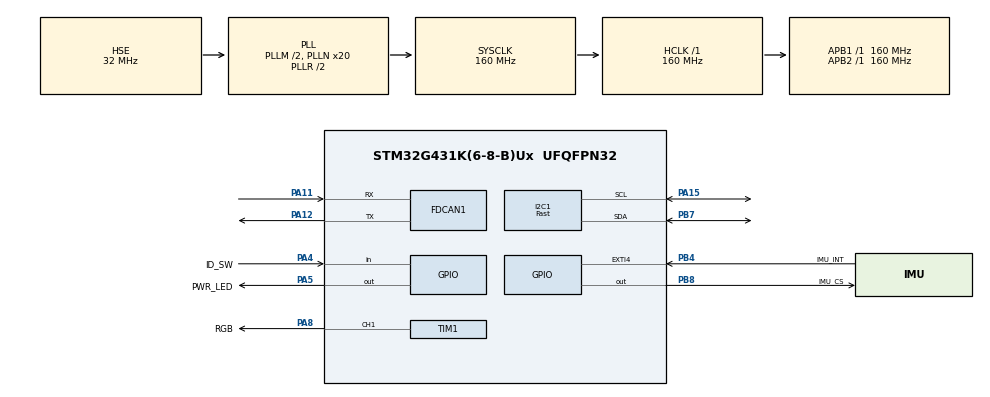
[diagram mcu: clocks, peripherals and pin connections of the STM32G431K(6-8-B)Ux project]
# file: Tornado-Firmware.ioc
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Dma.Request0=TIM1_CH1
Dma.TIM1_CH1.0.Direction=DMA_MEMORY_TO_PERIPH
Dma.TIM1_CH1.0.EventEnable=DISABLE
Dma.TIM1_CH1.0.Instance=DMA1_Channel1
Dma.TIM1_CH1.0.MemDataAlignment=DMA_MDATAALIGN_BYTE
Dma.TIM1_CH1.0.MemInc=DMA_MINC_ENABLE
Dma.TIM1_CH1.0.Mode=DMA_NORMAL
Dma.TIM1_CH1.0.PeriphDataAlignment=DMA_PDATAALIGN_HALFWORD
Dma.TIM1_CH1.0.PeriphInc=DMA_PINC_DISABLE
Dma.TIM1_CH1.0.Polarity=HAL_DMAMUX_REQ_GEN_RISING
Dma.TIM1_CH1.0.Priority=DMA_PRIORITY_LOW
Dma.TIM1_CH1.0.RequestNumber=1
Dma.TIM1_CH1.0.SignalID=NONE
Dma.TIM1_CH1.0.SyncEnable=DISABLE
Dma.TIM1_CH1.0.SyncPolarity=HAL_DMAMUX_SYNC_NO_EVENT
Dma.TIM1_CH1.0.SyncRequestNumber=1
Dma.TIM1_CH1.0.SyncSignalID=NONE
FDCAN1.AutoRetransmission=ENABLE
FDCAN1.CalculateBaudRateNominal=1000000
FDCAN1.CalculateTimeBitNominal=1000
FDCAN1.CalculateTimeQuantumNominal=200.0
FDCAN1.DataPrescaler=5
FDCAN1.DataTimeSeg1=1
FDCAN1.DataTimeSeg2=1
FDCAN1.FrameFormat=FDCAN_FRAME_FD_BRS
FDCAN1.NominalPrescaler=32
FDCAN1.TransmitPause=ENABLE
FREERTOS.BinarySemaphores01=i2cSyncSemaphore,Static,i2cSyncSemaphoreControlBlock
FREERTOS.MEMORY_ALLOCATION=1
FREERTOS.Mutexes01=i2cMutex,Static,i2cMutexControlBlock
FREERTOS.Queues01=rgbQueue,4,RGBState,0,Static,rgbQueueBuffer,rgbQueueControlBlock;EEPROMQueue,4,uint16_t,0,Static,EEPROMQueueBuffer,EEPROMQueueControlBlock
FREERTOS.Tasks01=defaultTask,0,128,StartDefaultTask,Default,NULL,Static,defaultTaskBuffer,defaultTaskControlBlock;updateRGBTask,-2,128,StartUpdateRGBTask,Default,NULL,Static,updateRGBTaskBuffer,updateRGBTaskControlBlock;buttonTask,0,128,StartButtonTask,Default,NULL,Static,buttonTaskBuffer,buttonTaskControlBlock;EEPROMWriteTask,-2,128,StartEEPROMWriteTask,Default,NULL,Static,EEPROMWriteTaskBuffer,EEPROMWriteTaskControlBlock;periodicTask,0,128,StartPeriodicTask,Default,NULL,Static,periodicTaskBuffer,periodicTaskControlBlock
FREERTOS.configUSE_NEWLIB_REENTRANT=1
I2C1.I2C_Speed_Mode=I2C_Fast
I2C1.Timing=0x00F07BFF
Mcu.Family=STM32G4
Mcu.Name=STM32G431K(6-8-B)Ux
Mcu.Package=UFQFPN32
NVIC.DMA1_Channel1_IRQn=true\:5\:0\:false\:false\:true\:true\:false\:true\:true
NVIC.EXTI4_IRQn=true\:5\:0\:false\:false\:true\:true\:true\:true\:true
NVIC.FDCAN1_IT0_IRQn=true\:5\:0\:false\:false\:true\:true\:true\:true\:true
NVIC.I2C1_ER_IRQn=true\:5\:0\:false\:false\:true\:true\:true\:true\:true
NVIC.I2C1_EV_IRQn=true\:5\:0\:false\:false\:true\:true\:true\:true\:true
NVIC.PriorityGroup=NVIC_PRIORITYGROUP_4
NVIC.TIM2_IRQn=true\:15\:0\:false\:false\:true\:false\:false\:true\:true
NVIC.TimeBase=TIM2_IRQn
NVIC.TimeBaseIP=TIM2
PA11.Mode=FDCAN_Activate
PA11.Signal=FDCAN1_RX
PA12.Mode=FDCAN_Activate
PA12.Signal=FDCAN1_TX
PA13.Mode=Serial_Wire
PA13.Signal=SYS_JTMS-SWDIO
PA14.Mode=Serial_Wire
PA14.Signal=SYS_JTCK-SWCLK
PA15.Mode=I2C
PA15.Signal=I2C1_SCL
PA4.GPIO_Label=ID_SW
PA4.GPIO_PuPd=GPIO_PULLUP
PA4.Signal=GPIO_Input
PA5.GPIO_Label=PWR_LED
PA5.Signal=GPIO_Output
PA8.GPIO_Label=RGB
PA8.Signal=S_TIM1_CH1
PB4.GPIO_Label=IMU_INT
PB4.Signal=GPXTI4
PB7.Mode=I2C
PB7.Signal=I2C1_SDA
PB8-BOOT0.GPIO_Label=IMU_CS
PB8-BOOT0.Signal=GPIO_Output
PF0-OSC_IN.Mode=HSE-External-Oscillator
PF0-OSC_IN.Signal=RCC_OSC_IN
PF1-OSC_OUT.Mode=HSE-External-Oscillator
PF1-OSC_OUT.Signal=RCC_OSC_OUT
ProjectManager.HeapSize=0x200
ProjectManager.StackSize=0x400
ProjectManager.TargetToolchain=STM32CubeIDE
RCC.ADC12Freq_Value=160000000
RCC.AHBFreq_Value=160000000
RCC.APB1Freq_Value=160000000
RCC.APB1TimFreq_Value=160000000
RCC.APB2Freq_Value=160000000
RCC.APB2TimFreq_Value=160000000
RCC.CortexFreq_Value=160000000
RCC.EXTERNAL_CLOCK_VALUE=12288000
RCC.HCLKFreq_Value=160000000
RCC.HSE_VALUE=32000000
RCC.HSI48_VALUE=48000000
RCC.HSI_VALUE=16000000
RCC.LSE_VALUE=32768
RCC.PLLM=RCC_PLLM_DIV2
RCC.PLLN=20
RCC.PLLSourceVirtual=RCC_PLLSOURCE_HSE
RCC.SYSCLKFreq_VALUE=160000000
RCC.SYSCLKSource=RCC_SYSCLKSOURCE_PLLCLK
RCC.USBFreq_Value=160000000
RCC.VCOOutputFreq_Value=320000000
SH.S_TIM1_CH1.0=TIM1_CH1,PWM Generation1 CH1
TIM1.Channel-PWM\ Generation1\ CH1=TIM_CHANNEL_1
TIM1.PeriodNoDither=39
TIM1.Prescaler=4
VP_FREERTOS_VS_CMSIS_V1.Mode=CMSIS_V1
VP_SYS_VS_DBSignals.Mode=DisableDeadBatterySignals
VP_SYS_VS_tim2.Mode=TIM2
VP_TIM1_VS_ClockSourceINT.Mode=Internal
board=custom

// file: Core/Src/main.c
/* USER CODE BEGIN Header */
/**
  ******************************************************************************
  * @file           : main.c
  * @brief          : Main program body
  ******************************************************************************
  * @attention
  *
  * Copyright (c) 2024 STMicroelectronics.
  * All rights reserved.
  *
  * This software is licensed under terms that can be found in the LICENSE file
  * in the root directory of this software component.
  * If no LICENSE file comes with this software, it is provided AS-IS.
  *
  ******************************************************************************
  */
/* USER CODE END Header */
#include "main.h"
#include "cmsis_os.h"

/* USER CODE BEGIN Includes */
#include "WS2812.h"
#include "EEPROM.h"
/* USER CODE END Includes */

/* USER CODE BEGIN PD */
#define IMU_ADDR (0b1101010) << 1

#define I2C_MAX_DELAY 10

#define RGB_CHANNEL TIM_CHANNEL_1

#define MODE_SETTING_ID 1
#define MODE_NOT_SETTING_ID 0
#define BUTTON_PRESS_LONG 300
#define BUTTON_PRESS_SHORT 4
/* USER CODE END PD */

FDCAN_HandleTypeDef hfdcan1;

I2C_HandleTypeDef hi2c1;

TIM_HandleTypeDef htim1;
DMA_HandleTypeDef hdma_tim1_ch1;

osThreadId defaultTaskHandle;
uint32_t defaultTaskBuffer[ 128 ];
osStaticThreadDef_t defaultTaskControlBlock;
osThreadId updateRGBTaskHandle;
uint32_t updateRGBTaskBuffer[ 128 ];
osStaticThreadDef_t updateRGBTaskControlBlock;
osThreadId buttonTaskHandle;
uint32_t buttonTaskBuffer[ 128 ];
osStaticThreadDef_t buttonTaskControlBlock;
osThreadId EEPROMWriteTaskHandle;
uint32_t EEPROMWriteTaskBuffer[ 128 ];
osStaticThreadDef_t EEPROMWriteTaskControlBlock;
osThreadId periodicTaskHandle;
uint32_t periodicTaskBuffer[ 128 ];
osStaticThreadDef_t periodicTaskControlBlock;
osMessageQId rgbQueueHandle;
uint8_t rgbQueueBuffer[ 4 * sizeof( RGBState ) ];
osStaticMessageQDef_t rgbQueueControlBlock;
osMessageQId EEPROMQueueHandle;
uint8_t EEPROMQueueBuffer[ 4 * sizeof( uint16_t ) ];
osStaticMessageQDef_t EEPROMQueueControlBlock;
osMutexId i2cMutexHandle;
osStaticMutexDef_t i2cMutexControlBlock;
osSemaphoreId i2cSyncSemaphoreHandle;
osStaticSemaphoreDef_t i2cSyncSemaphoreControlBlock;
/* USER CODE BEGIN PV */
uint8_t config[40];
/* USER CODE END PV */

void SystemClock_Config(void);
static void MX_GPIO_Init(void);
static void MX_DMA_Init(void);
static void MX_FDCAN1_Init(void);
static void MX_I2C1_Init(void);
static void MX_TIM1_Init(void);
void StartDefaultTask(void const * argument);
void StartUpdateRGBTask(void const * argument);
void StartButtonTask(void const * argument);
void StartEEPROMWriteTask(void const * argument);
void StartPeriodicTask(void const * argument);

/* USER CODE BEGIN PFP */
HAL_StatusTypeDef i2cBlockingRead(I2C_HandleTypeDef *hi2c, uint8_t addr, uint8_t reg, uint8_t *buf, uint16_t len);
HAL_StatusTypeDef i2cBlockingWrite(I2C_HandleTypeDef *hi2c, uint8_t addr, uint8_t reg, uint8_t *buf, uint16_t len);
int32_t imu_write(void *handle, uint8_t Reg, const uint8_t *Bufp, uint16_t len);
int32_t imu_read(void *handle, uint8_t Reg, uint8_t *Bufp, uint16_t len);
void platform_delay(uint32_t ms);
void idToRGB(RGBState* state, uint8_t id);
void incrementID(uint8_t* id);
HAL_StatusTypeDef loadEEPROM(uint8_t* data);
/* USER CODE END PFP */

/* USER CODE BEGIN 0 */
void HAL_TIM_PWM_PulseFinishedCallback(TIM_HandleTypeDef *htim){
  HAL_TIM_PWM_Stop_DMA(&htim1, RGB_CHANNEL);
}

void HAL_I2C_MasterTxCpltCallback(I2C_HandleTypeDef *hi2c){
  BaseType_t xHigherPriorityTaskWoken = pdFALSE;

  xSemaphoreGiveFromISR(i2cSyncSemaphoreHandle, &xHigherPriorityTaskWoken);

  portYIELD_FROM_ISR(xHigherPriorityTaskWoken);
}

void HAL_I2C_MasterRxCpltCallback(I2C_HandleTypeDef *hi2c){
  BaseType_t xHigherPriorityTaskWoken = pdFALSE;

  xSemaphoreGiveFromISR(i2cSyncSemaphoreHandle, &xHigherPriorityTaskWoken);

  portYIELD_FROM_ISR(xHigherPriorityTaskWoken);
}

void HAL_I2C_ErrorCallback(I2C_HandleTypeDef *hi2c){
  BaseType_t xHigherPriorityTaskWoken = pdFALSE;

  xSemaphoreGiveFromISR(i2cSyncSemaphoreHandle, &xHigherPriorityTaskWoken);

  portYIELD_FROM_ISR(xHigherPriorityTaskWoken);
}

void HAL_GPIO_EXTI_Callback(uint16_t GPIO_Pin){
  BaseType_t xHigherPriorityTaskWoken = pdFALSE;

  if(GPIO_Pin == IMU_INT_Pin){
    //handle IMU interrupt
  }

  portYIELD_FROM_ISR(xHigherPriorityTaskWoken);
}

void HAL_FDCAN_RxFifo0Callback(FDCAN_HandleTypeDef *hfdcan, uint32_t RxFifo0ITs){
  BaseType_t xHigherPriorityTaskWoken = pdFALSE;

  //notify receive task

  portYIELD_FROM_ISR(xHigherPriorityTaskWoken);
}
/* USER CODE END 0 */

int main(void)
{

  /* MCU Configuration--------------------------------------------------------*/

  /* Reset of all peripherals, Initializes the Flash interface and the Systick. */
  HAL_Init();

  /* Configure the system clock */
  SystemClock_Config();

  /* Initialize all configured peripherals */
  MX_GPIO_Init();
  MX_DMA_Init();
  MX_FDCAN1_Init();
  MX_I2C1_Init();
  MX_TIM1_Init();
  /* USER CODE BEGIN 2 */
  loadEEPROM(config);
  /* USER CODE END 2 */

  /* Create the mutex(es) */
  /* definition and creation of i2cMutex */
  osMutexStaticDef(i2cMutex, &i2cMutexControlBlock);
  i2cMutexHandle = osMutexCreate(osMutex(i2cMutex));

  /* Create the semaphores(s) */
  /* definition and creation of i2cSyncSemaphore */
  osSemaphoreStaticDef(i2cSyncSemaphore, &i2cSyncSemaphoreControlBlock);
  i2cSyncSemaphoreHandle = osSemaphoreCreate(osSemaphore(i2cSyncSemaphore), 1);

  /* Create the queue(s) */
  /* definition and creation of rgbQueue */
  osMessageQStaticDef(rgbQueue, 4, RGBState, rgbQueueBuffer, &rgbQueueControlBlock);
  rgbQueueHandle = osMessageCreate(osMessageQ(rgbQueue), NULL);

  /* definition and creation of EEPROMQueue */
  osMessageQStaticDef(EEPROMQueue, 4, uint16_t, EEPROMQueueBuffer, &EEPROMQueueControlBlock);
  EEPROMQueueHandle = osMessageCreate(osMessageQ(EEPROMQueue), NULL);

  /* Create the thread(s) */
  /* definition and creation of defaultTask */
  osThreadStaticDef(defaultTask, StartDefaultTask, osPriorityNormal, 0, 128, defaultTaskBuffer, &defaultTaskControlBlock);
  defaultTaskHandle = osThreadCreate(osThread(defaultTask), NULL);

  /* definition and creation of updateRGBTask */
  osThreadStaticDef(updateRGBTask, StartUpdateRGBTask, osPriorityLow, 0, 128, updateRGBTaskBuffer, &updateRGBTaskControlBlock);
  updateRGBTaskHandle = osThreadCreate(osThread(updateRGBTask), NULL);

  /* definition and creation of buttonTask */
  osThreadStaticDef(buttonTask, StartButtonTask, osPriorityNormal, 0, 128, buttonTaskBuffer, &buttonTaskControlBlock);
  buttonTaskHandle = osThreadCreate(osThread(buttonTask), NULL);

  /* definition and creation of EEPROMWriteTask */
  osThreadStaticDef(EEPROMWriteTask, StartEEPROMWriteTask, osPriorityLow, 0, 128, EEPROMWriteTaskBuffer, &EEPROMWriteTaskControlBlock);
  EEPROMWriteTaskHandle = osThreadCreate(osThread(EEPROMWriteTask), NULL);

  /* definition and creation of periodicTask */
  osThreadStaticDef(periodicTask, StartPeriodicTask, osPriorityNormal, 0, 128, periodicTaskBuffer, &periodicTaskControlBlock);
  periodicTaskHandle = osThreadCreate(osThread(periodicTask), NULL);

  /* Start scheduler */
  osKernelStart();

  /* We should never get here as control is now taken by the scheduler */
  /* Infinite loop */
  while (1)
  {

  }
}

void SystemClock_Config(void)
{
  RCC_OscInitTypeDef RCC_OscInitStruct = {0};
  RCC_ClkInitTypeDef RCC_ClkInitStruct = {0};

  /** Configure the main internal regulator output voltage
  */
  HAL_PWREx_ControlVoltageScaling(PWR_REGULATOR_VOLTAGE_SCALE1_BOOST);

  /** Initializes the RCC Oscillators according to the specified parameters
  * in the RCC_OscInitTypeDef structure.
  */
  RCC_OscInitStruct.OscillatorType = RCC_OSCILLATORTYPE_HSE;
  RCC_OscInitStruct.HSEState = RCC_HSE_ON;
  RCC_OscInitStruct.PLL.PLLState = RCC_PLL_ON;
  RCC_OscInitStruct.PLL.PLLSource = RCC_PLLSOURCE_HSE;
  RCC_OscInitStruct.PLL.PLLM = RCC_PLLM_DIV2;
  RCC_OscInitStruct.PLL.PLLN = 20;
  RCC_OscInitStruct.PLL.PLLP = RCC_PLLP_DIV2;
  RCC_OscInitStruct.PLL.PLLQ = RCC_PLLQ_DIV2;
  RCC_OscInitStruct.PLL.PLLR = RCC_PLLR_DIV2;
  if (HAL_RCC_OscConfig(&RCC_OscInitStruct) != HAL_OK)
  {
    Error_Handler();
  }

  /** Initializes the CPU, AHB and APB buses clocks
  */
  RCC_ClkInitStruct.ClockType = RCC_CLOCKTYPE_HCLK|RCC_CLOCKTYPE_SYSCLK
                              |RCC_CLOCKTYPE_PCLK1|RCC_CLOCKTYPE_PCLK2;
  RCC_ClkInitStruct.SYSCLKSource = RCC_SYSCLKSOURCE_PLLCLK;
  RCC_ClkInitStruct.AHBCLKDivider = RCC_SYSCLK_DIV1;
  RCC_ClkInitStruct.APB1CLKDivider = RCC_HCLK_DIV1;
  RCC_ClkInitStruct.APB2CLKDivider = RCC_HCLK_DIV1;

  if (HAL_RCC_ClockConfig(&RCC_ClkInitStruct, FLASH_LATENCY_4) != HAL_OK)
  {
    Error_Handler();
  }
}

static void MX_FDCAN1_Init(void)
{

  hfdcan1.Instance = FDCAN1;
  hfdcan1.Init.ClockDivider = FDCAN_CLOCK_DIV1;
  hfdcan1.Init.FrameFormat = FDCAN_FRAME_FD_BRS;
  hfdcan1.Init.Mode = FDCAN_MODE_NORMAL;
  hfdcan1.Init.AutoRetransmission = ENABLE;
  hfdcan1.Init.TransmitPause = ENABLE;
  hfdcan1.Init.ProtocolException = DISABLE;
  hfdcan1.Init.NominalPrescaler = 32;
  hfdcan1.Init.NominalSyncJumpWidth = 1;
  hfdcan1.Init.NominalTimeSeg1 = 2;
  hfdcan1.Init.NominalTimeSeg2 = 2;
  hfdcan1.Init.DataPrescaler = 5;
  hfdcan1.Init.DataSyncJumpWidth = 1;
  hfdcan1.Init.DataTimeSeg1 = 1;
  hfdcan1.Init.DataTimeSeg2 = 1;
  hfdcan1.Init.StdFiltersNbr = 0;
  hfdcan1.Init.ExtFiltersNbr = 0;
  hfdcan1.Init.TxFifoQueueMode = FDCAN_TX_FIFO_OPERATION;
  if (HAL_FDCAN_Init(&hfdcan1) != HAL_OK)
  {
    Error_Handler();
  }

}

static void MX_I2C1_Init(void)
{

  hi2c1.Instance = I2C1;
  hi2c1.Init.Timing = 0x00F07BFF;
  hi2c1.Init.OwnAddress1 = 0;
  hi2c1.Init.AddressingMode = I2C_ADDRESSINGMODE_7BIT;
  hi2c1.Init.DualAddressMode = I2C_DUALADDRESS_DISABLE;
  hi2c1.Init.OwnAddress2 = 0;
  hi2c1.Init.OwnAddress2Masks = I2C_OA2_NOMASK;
  hi2c1.Init.GeneralCallMode = I2C_GENERALCALL_DISABLE;
  hi2c1.Init.NoStretchMode = I2C_NOSTRETCH_DISABLE;
  if (HAL_I2C_Init(&hi2c1) != HAL_OK)
  {
    Error_Handler();
  }

  /** Configure Analogue filter
  */
  if (HAL_I2CEx_ConfigAnalogFilter(&hi2c1, I2C_ANALOGFILTER_ENABLE) != HAL_OK)
  {
    Error_Handler();
  }

  /** Configure Digital filter
  */
  if (HAL_I2CEx_ConfigDigitalFilter(&hi2c1, 0) != HAL_OK)
  {
    Error_Handler();
  }

}

static void MX_TIM1_Init(void)
{

  TIM_ClockConfigTypeDef sClockSourceConfig = {0};
  TIM_MasterConfigTypeDef sMasterConfig = {0};
  TIM_OC_InitTypeDef sConfigOC = {0};
  TIM_BreakDeadTimeConfigTypeDef sBreakDeadTimeConfig = {0};

  htim1.Instance = TIM1;
  htim1.Init.Prescaler = 4;
  htim1.Init.CounterMode = TIM_COUNTERMODE_UP;
  htim1.Init.Period = 39;
  htim1.Init.ClockDivision = TIM_CLOCKDIVISION_DIV1;
  htim1.Init.RepetitionCounter = 0;
  htim1.Init.AutoReloadPreload = TIM_AUTORELOAD_PRELOAD_DISABLE;
  if (HAL_TIM_Base_Init(&htim1) != HAL_OK)
  {
    Error_Handler();
  }
  sClockSourceConfig.ClockSource = TIM_CLOCKSOURCE_INTERNAL;
  if (HAL_TIM_ConfigClockSource(&htim1, &sClockSourceConfig) != HAL_OK)
  {
    Error_Handler();
  }
  if (HAL_TIM_PWM_Init(&htim1) != HAL_OK)
  {
    Error_Handler();
  }
  sMasterConfig.MasterOutputTrigger = TIM_TRGO_RESET;
  sMasterConfig.MasterOutputTrigger2 = TIM_TRGO2_RESET;
  sMasterConfig.MasterSlaveMode = TIM_MASTERSLAVEMODE_DISABLE;
  if (HAL_TIMEx_MasterConfigSynchronization(&htim1, &sMasterConfig) != HAL_OK)
  {
    Error_Handler();
  }
  sConfigOC.OCMode = TIM_OCMODE_PWM1;
  sConfigOC.Pulse = 0;
  sConfigOC.OCPolarity = TIM_OCPOLARITY_HIGH;
  sConfigOC.OCNPolarity = TIM_OCNPOLARITY_HIGH;
  sConfigOC.OCFastMode = TIM_OCFAST_DISABLE;
  sConfigOC.OCIdleState = TIM_OCIDLESTATE_RESET;
  sConfigOC.OCNIdleState = TIM_OCNIDLESTATE_RESET;
  if (HAL_TIM_PWM_ConfigChannel(&htim1, &sConfigOC, TIM_CHANNEL_1) != HAL_OK)
  {
    Error_Handler();
  }
  sBreakDeadTimeConfig.OffStateRunMode = TIM_OSSR_DISABLE;
  sBreakDeadTimeConfig.OffStateIDLEMode = TIM_OSSI_DISABLE;
  sBreakDeadTimeConfig.LockLevel = TIM_LOCKLEVEL_OFF;
  sBreakDeadTimeConfig.DeadTime = 0;
  sBreakDeadTimeConfig.BreakState = TIM_BREAK_DISABLE;
  sBreakDeadTimeConfig.BreakPolarity = TIM_BREAKPOLARITY_HIGH;
  sBreakDeadTimeConfig.BreakFilter = 0;
  sBreakDeadTimeConfig.BreakAFMode = TIM_BREAK_AFMODE_INPUT;
  sBreakDeadTimeConfig.Break2State = TIM_BREAK2_DISABLE;
  sBreakDeadTimeConfig.Break2Polarity = TIM_BREAK2POLARITY_HIGH;
  sBreakDeadTimeConfig.Break2Filter = 0;
  sBreakDeadTimeConfig.Break2AFMode = TIM_BREAK_AFMODE_INPUT;
  sBreakDeadTimeConfig.AutomaticOutput = TIM_AUTOMATICOUTPUT_DISABLE;
  if (HAL_TIMEx_ConfigBreakDeadTime(&htim1, &sBreakDeadTimeConfig) != HAL_OK)
  {
    Error_Handler();
  }
  HAL_TIM_MspPostInit(&htim1);

}

static void MX_DMA_Init(void)
{

  /* DMA controller clock enable */
  __HAL_RCC_DMAMUX1_CLK_ENABLE();
  __HAL_RCC_DMA1_CLK_ENABLE();

  /* DMA interrupt init */
  /* DMA1_Channel1_IRQn interrupt configuration */
  HAL_NVIC_SetPriority(DMA1_Channel1_IRQn, 5, 0);
  HAL_NVIC_EnableIRQ(DMA1_Channel1_IRQn);

}

static void MX_GPIO_Init(void)
{
  GPIO_InitTypeDef GPIO_InitStruct = {0};

  /* GPIO Ports Clock Enable */
  __HAL_RCC_GPIOF_CLK_ENABLE();
  __HAL_RCC_GPIOA_CLK_ENABLE();
  __HAL_RCC_GPIOB_CLK_ENABLE();

  /*Configure GPIO pin Output Level */
  HAL_GPIO_WritePin(PWR_LED_GPIO_Port, PWR_LED_Pin, GPIO_PIN_RESET);

  /*Configure GPIO pin Output Level */
  HAL_GPIO_WritePin(IMU_CS_GPIO_Port, IMU_CS_Pin, GPIO_PIN_RESET);

  /*Configure GPIO pin : ID_SW_Pin */
  GPIO_InitStruct.Pin = ID_SW_Pin;
  GPIO_InitStruct.Mode = GPIO_MODE_INPUT;
  GPIO_InitStruct.Pull = GPIO_PULLUP;
  HAL_GPIO_Init(ID_SW_GPIO_Port, &GPIO_InitStruct);

  /*Configure GPIO pin : PWR_LED_Pin */
  GPIO_InitStruct.Pin = PWR_LED_Pin;
  GPIO_InitStruct.Mode = GPIO_MODE_OUTPUT_PP;
  GPIO_InitStruct.Pull = GPIO_NOPULL;
  GPIO_InitStruct.Speed = GPIO_SPEED_FREQ_LOW;
  HAL_GPIO_Init(PWR_LED_GPIO_Port, &GPIO_InitStruct);

  /*Configure GPIO pin : IMU_INT_Pin */
  GPIO_InitStruct.Pin = IMU_INT_Pin;
  GPIO_InitStruct.Mode = GPIO_MODE_IT_RISING;
  GPIO_InitStruct.Pull = GPIO_NOPULL;
  HAL_GPIO_Init(IMU_INT_GPIO_Port, &GPIO_InitStruct);

  /*Configure GPIO pin : IMU_CS_Pin */
  GPIO_InitStruct.Pin = IMU_CS_Pin;
  GPIO_InitStruct.Mode = GPIO_MODE_OUTPUT_PP;
  GPIO_InitStruct.Pull = GPIO_NOPULL;
  GPIO_InitStruct.Speed = GPIO_SPEED_FREQ_LOW;
  HAL_GPIO_Init(IMU_CS_GPIO_Port, &GPIO_InitStruct);

  /* EXTI interrupt init*/
  HAL_NVIC_SetPriority(EXTI4_IRQn, 5, 0);
  HAL_NVIC_EnableIRQ(EXTI4_IRQn);

}

/* USER CODE BEGIN 4 */
HAL_StatusTypeDef i2cBlockingRead(I2C_HandleTypeDef *hi2c, uint8_t addr, uint8_t reg, uint8_t *buf, uint16_t len){
  int32_t status;

  //take mutex for using i2c
  if (xSemaphoreTake(i2cMutexHandle, I2C_MAX_DELAY) == pdFALSE){
    status = HAL_ERROR;
  }

  //start operation
  status = HAL_I2C_Mem_Read_IT(&hi2c1, addr, reg, I2C_MEMADD_SIZE_8BIT, buf, len);

  //wait for interrupt
  if (xSemaphoreTake(i2cSyncSemaphoreHandle, I2C_MAX_DELAY) == pdFALSE){
    status = HAL_ERROR;
  }

  //check for error
  if(HAL_I2C_GetError(&hi2c1) != HAL_I2C_ERROR_NONE) {
    status = HAL_ERROR;
  }

  //give back mutex
  xSemaphoreGive(i2cMutexHandle);

  return status;
}

HAL_StatusTypeDef i2cBlockingWrite(I2C_HandleTypeDef *hi2c, uint8_t addr, uint8_t reg, uint8_t *buf, uint16_t len){
  int32_t status;

  if (xSemaphoreTake(i2cMutexHandle, I2C_MAX_DELAY) == pdFALSE){
    status = HAL_ERROR;
  }

  status = HAL_I2C_Mem_Write_IT(&hi2c1, addr, reg, I2C_MEMADD_SIZE_8BIT, buf, len);

  if (xSemaphoreTake(i2cSyncSemaphoreHandle, I2C_MAX_DELAY) == pdFALSE){
    status = HAL_ERROR;
  }

  if(HAL_I2C_GetError(&hi2c1) != HAL_I2C_ERROR_NONE) {
    status = HAL_ERROR;
  }

  xSemaphoreGive(i2cMutexHandle);

  return status;
}

int32_t imu_write(void *handle, uint8_t Reg, const uint8_t *Bufp, uint16_t len){
  return i2cBlockingWrite(&hi2c1, IMU_ADDR, Reg, (uint8_t*)Bufp, len);
}

int32_t imu_read(void *handle, uint8_t Reg, uint8_t *Bufp, uint16_t len){
  return i2cBlockingRead(&hi2c1, IMU_ADDR, Reg, Bufp, len);
}

void platform_delay(uint32_t ms){
  vTaskDelay(ms);
}

void idToRGB(RGBState* state, uint8_t id){
  if (id == 0){
    RGBSetStateColor(state, 30, 30, 0);
  }
  if (id == 1){
    RGBSetStateColor(state, 0, 30, 0);
  }
  if (id == 2){
    RGBSetStateColor(state, 30, 15, 15);
  }
}
void incrementID(uint8_t* id){
  if ((*id) >= 2){
    (*id) = 0;
  } else {
    (*id)++;
  }
}

HAL_StatusTypeDef loadEEPROM(uint8_t* data){

  for (uint8_t offset = 0; offset < 5; offset++) {
    uint8_t errCount = 0;

    while ((HAL_I2C_Mem_Read(&hi2c1, EEPROM_ADDR, offset * 8, I2C_MEMADD_SIZE_8BIT, data + (offset * 8), 0x08, 5) == HAL_ERROR) && (errCount < 2)){
      errCount++;
    }

    if (errCount == 2){
      return HAL_ERROR;
    }
  }

  return HAL_OK;
}
/* USER CODE END 4 */

void StartDefaultTask(void const * argument)
{
  for(;;)
  {
    osDelay(1);
  }
}

void StartUpdateRGBTask(void const * argument)
{
  /* USER CODE BEGIN StartUpdateRGBTask */
  /* Infinite loop */
  static uint8_t buffer[WS2812_BUF_LEN];
  static WS2812 rgbHandle;
  static RGBState ReceivedState;
  static RGBState colors[5];
  uint8_t mode = 1;
  colors[0].r = 30;
  colors[0].g = 0;
  colors[0].b = 0;

  WS2812_Init(&rgbHandle, &htim1, RGB_CHANNEL);
  WS2812_ResetBuf(buffer);
  WS2812_WriteBuf(buffer, colors[0].r, colors[0].g, colors[0].b, 0);
  WS2812_WriteBuf(buffer, colors[0].r, colors[0].g, colors[0].b, 1);
  WS2812_Send(&rgbHandle, buffer);

  for(;;)
  {
    xQueueReceive(rgbQueueHandle, &ReceivedState, portMAX_DELAY);

    //sets the bits in mode (the type will always be a power of 2)
    if (ReceivedState.enabled == 1) {
      mode = ReceivedState.type | mode;
    } else {
      mode = mode & (~ReceivedState.type);
    }

    //finds to which power of 2 it is and sets its color in the array
    uint8_t index = 0;
    while (!((ReceivedState.type >> index)& 1)){
      index++;
    }
    colors[index] = ReceivedState;

    //finds the highest "priority type"
    uint8_t highest = 0;
    for (uint8_t i = 0; i < 8; i++) {
      if ((mode >> i) & 1) {
        highest = i;
      }
    }

    WS2812_WriteBuf(buffer, colors[highest].r, colors[highest].g, colors[highest].b, 0);
    WS2812_WriteBuf(buffer, colors[highest].r, colors[highest].g, colors[highest].b, 1);

    WS2812_Send(&rgbHandle, buffer);
    vTaskDelay(2);
  }
  /* USER CODE END StartUpdateRGBTask */
}

void StartButtonTask(void const * argument)
{
  /* USER CODE BEGIN StartButtonTask */
  /* Infinite loop */
  uint8_t mode = MODE_NOT_SETTING_ID;
  uint32_t blinkCounter = 0;
  uint8_t blinkState = 0;
  uint16_t buttonPressTime = 0;
  uint8_t lastState = GPIO_PIN_SET;
  uint8_t currentState = GPIO_PIN_SET;
  uint8_t testID = 0;
  RGBState rgb;

  rgb.type = RGB_TYPE_SETTING_ID;
  rgb.enabled = 0;

  for(;;)
  {
    currentState = HAL_GPIO_ReadPin(ID_SW_GPIO_Port, ID_SW_Pin);

    //detects end of button press
    if((lastState == GPIO_PIN_RESET) && (lastState != currentState)){

      if((mode == MODE_NOT_SETTING_ID) && (buttonPressTime > BUTTON_PRESS_LONG)){

        /* Change into id setting mode */
        mode = MODE_SETTING_ID;
        idToRGB(&rgb, testID);
        xQueueSend(rgbQueueHandle, &rgb, 0);
        /* Change into id setting mode */

      } else if((mode == MODE_SETTING_ID) && (buttonPressTime > BUTTON_PRESS_LONG)){

        /* Change into normal mode */
        mode = MODE_NOT_SETTING_ID;
        rgb.enabled = 0;
        xQueueSend(rgbQueueHandle, &rgb, 0);
        /* Change into normal mode */

      } else if ((mode == MODE_SETTING_ID) && (buttonPressTime > BUTTON_PRESS_SHORT)){

        /* Change ID */
        incrementID(&testID);
        rgb.type = RGB_TYPE_ID;
        idToRGB(&rgb, testID);
        xQueueSend(rgbQueueHandle, &rgb, 0);
        rgb.type = RGB_TYPE_SETTING_ID;
        idToRGB(&rgb, testID);
        /* Change ID */

      } else if ((mode == MODE_NOT_SETTING_ID) && (buttonPressTime <= BUTTON_PRESS_LONG)){

        /* Accidental Press */
        rgb.enabled = 0;
        xQueueSend(rgbQueueHandle, &rgb, 0);
        /* Accidental Press */

      }
    }

    //Brighten to white
    if((currentState == GPIO_PIN_RESET) && (mode == MODE_NOT_SETTING_ID)){
      rgb.enabled = 1;
      if (buttonPressTime > BUTTON_PRESS_LONG){
        idToRGB(&rgb, testID);
      } else {
        RGBSetStateColor(&rgb, buttonPressTime/10, buttonPressTime/10, buttonPressTime/10);
      }
      xQueueSend(rgbQueueHandle, &rgb, 0);
    }

    //Dim to nothing
    if((currentState == GPIO_PIN_RESET) && (mode == MODE_SETTING_ID)){
      if (buttonPressTime > BUTTON_PRESS_LONG){
        rgb.enabled = 0;
      } else if (buttonPressTime > 50){
        RGBSetStateColor(&rgb, (BUTTON_PRESS_LONG - buttonPressTime)/10, (BUTTON_PRESS_LONG - buttonPressTime)/10, (BUTTON_PRESS_LONG - buttonPressTime)/10);
      }
      xQueueSend(rgbQueueHandle, &rgb, 0);
    }

    //blinking id color
    if((mode == MODE_SETTING_ID) && (currentState == GPIO_PIN_SET)){
      if (blinkCounter > 35){
        blinkState = !blinkState;
        blinkCounter = 0;
        if (blinkState){
          idToRGB(&rgb, testID);
        } else {
          RGBSetStateColor(&rgb, 0, 0, 0);
        }
      }
      xQueueSend(rgbQueueHandle, &rgb, 0);
    }

    if(currentState == GPIO_PIN_RESET){
      buttonPressTime++;
    } else{
      buttonPressTime = 0;
    }
    lastState = currentState;
    blinkCounter++;
    vTaskDelay(10);
  }
  /* USER CODE END StartButtonTask */
}

void StartEEPROMWriteTask(void const * argument)
{
  /* USER CODE BEGIN StartEEPROMWriteTask */
  /* Infinite loop */
  uint8_t addr;
  uint8_t data;
  uint16_t received;

  for(;;)
  {
    xQueueReceive(EEPROMQueueHandle, &received, portMAX_DELAY);
    addr = (received >> 8);
    data = received & 0xff;
    i2cBlockingWrite(&hi2c1, EEPROM_ADDR, addr, &data, 1);
  }
  /* USER CODE END StartEEPROMWriteTask */
}

void StartPeriodicTask(void const * argument)
{
  /* USER CODE BEGIN StartPeriodicTask */
  /* Infinite loop */

  FDCAN_TxHeaderTypeDef header;
  uint8_t data;

  header.BitRateSwitch = FDCAN_BRS_OFF;
  header.IdType = FDCAN_EXTENDED_ID;
  header.Identifier = 0xAA;
  header.DataLength = FDCAN_DLC_BYTES_0;
  header.FDFormat = FDCAN_CLASSIC_CAN;
  header.TxFrameType = FDCAN_DATA_FRAME;
  header.ErrorStateIndicator = FDCAN_ESI_ACTIVE;

  for(;;)
  {
    HAL_FDCAN_AddMessageToTxFifoQ(&hfdcan1, &header, &data);
    vTaskDelay(200);
  }
  /* USER CODE END StartPeriodicTask */
}

void HAL_TIM_PeriodElapsedCallback(TIM_HandleTypeDef *htim)
{
  if (htim->Instance == TIM2) {
    HAL_IncTick();
  }
}

void Error_Handler(void)
{
  __disable_irq();
  while (1)
  {
  }
}
